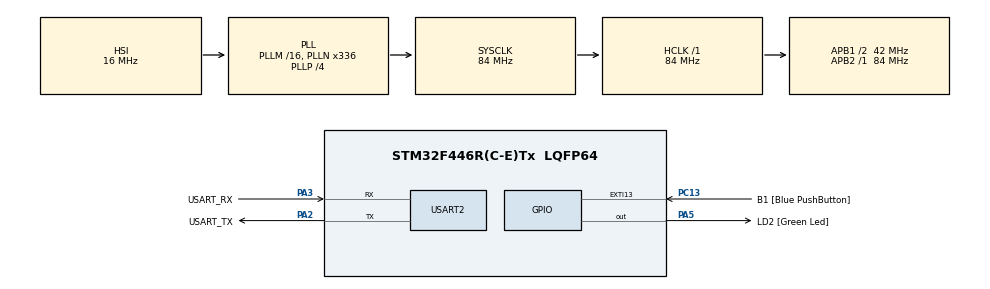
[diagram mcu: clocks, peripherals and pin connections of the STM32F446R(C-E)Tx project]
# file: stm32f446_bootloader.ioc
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Mcu.Family=STM32F4
Mcu.Name=STM32F446R(C-E)Tx
Mcu.Package=LQFP64
NVIC.PriorityGroup=NVIC_PRIORITYGROUP_0
PA13.GPIO_Label=TMS
PA13.Mode=Serial_Wire
PA13.Signal=SYS_JTMS-SWDIO
PA14.GPIO_Label=TCK
PA14.Mode=Serial_Wire
PA14.Signal=SYS_JTCK-SWCLK
PA2.GPIO_Label=USART_TX
PA2.Mode=Asynchronous
PA2.Signal=USART2_TX
PA3.GPIO_Label=USART_RX
PA3.Mode=Asynchronous
PA3.Signal=USART2_RX
PA5.GPIO_Label=LD2 [Green Led]
PA5.Signal=GPIO_Output
PB3.GPIO_Label=SWO
PB3.Signal=SYS_JTDO-SWO
PC13.GPIO_Label=B1 [Blue PushButton]
PC13.GPIO_ModeDefaultEXTI=GPIO_MODE_IT_FALLING
PC13.Signal=GPXTI13
PC14-OSC32_IN.Mode=LSE-External-Oscillator
PC14-OSC32_IN.Signal=RCC_OSC32_IN
PC15-OSC32_OUT.Mode=LSE-External-Oscillator
PC15-OSC32_OUT.Signal=RCC_OSC32_OUT
PH0-OSC_IN.Mode=HSE-External-Oscillator
PH0-OSC_IN.Signal=RCC_OSC_IN
PH1-OSC_OUT.Mode=HSE-External-Oscillator
PH1-OSC_OUT.Signal=RCC_OSC_OUT
ProjectManager.HeapSize=0x200
ProjectManager.StackSize=0x400
ProjectManager.TargetToolchain=STM32CubeIDE
RCC.48MHZClocksFreq_Value=84000000
RCC.AHBFreq_Value=84000000
RCC.APB1CLKDivider=RCC_HCLK_DIV2
RCC.APB1Freq_Value=42000000
RCC.APB1TimFreq_Value=84000000
RCC.APB2Freq_Value=84000000
RCC.APB2TimFreq_Value=84000000
RCC.CortexFreq_Value=84000000
RCC.FLatency-AdvancedSettings=FLASH_LATENCY_2
RCC.HCLKFreq_Value=84000000
RCC.HSE_VALUE=8000000
RCC.HSI_VALUE=16000000
RCC.PLLN=336
RCC.PLLP=RCC_PLLP_DIV4
RCC.SYSCLKFreq_VALUE=84000000
RCC.SYSCLKSource=RCC_SYSCLKSOURCE_PLLCLK
RCC.USBFreq_Value=168000000
RCC.VCOOutputFreq_Value=336000000
USART2.VirtualMode=VM_ASYNC
VP_CRC_VS_CRC.Mode=CRC_Activate
board=NUCLEO-F446RE

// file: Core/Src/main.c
/* USER CODE BEGIN Header */
/**
 ******************************************************************************
 * @file           : main.c
 * @brief          : Main program body
 ******************************************************************************
 * @attention
 *
 * Copyright (c) 2024 STMicroelectronics.
 * All rights reserved.
 *
 * This software is licensed under terms that can be found in the LICENSE file
 * in the root directory of this software component.
 * If no LICENSE file comes with this software, it is provided AS-IS.
 *
 ******************************************************************************
 */
/* USER CODE END Header */
#include "main.h"

/* USER CODE BEGIN Includes */
#include <string.h>
#include "BL.h"
/* USER CODE END Includes */

CRC_HandleTypeDef hcrc;

UART_HandleTypeDef huart2;

void SystemClock_Config(void);
static void MX_GPIO_Init(void);
static void MX_USART2_UART_Init(void);
static void MX_CRC_Init(void);

/* USER CODE BEGIN 0 */
#define FLASH_SECTOR2_BASE_ADDRESS     0x08008000UL
/* USER CODE END 0 */

int main(void)
{

	/* MCU Configuration--------------------------------------------------------*/

	/* Reset of all peripherals, Initializes the Flash interface and the Systick. */
	HAL_Init();

	/* Configure the system clock */
	SystemClock_Config();

	/* Initialize all configured peripherals */
	MX_GPIO_Init();
	MX_USART2_UART_Init();
	MX_CRC_Init();
	/* USER CODE BEGIN 2 */
	if(HAL_GPIO_ReadPin(B1_GPIO_Port, B1_Pin) == GPIO_PIN_RESET)
	{
		Bootloader_UartReadData();
	}
	else
	{

		Bootloader_jumpToUserApp();
	}
	/* USER CODE END 2 */

	/* Infinite loop */
	/* USER CODE BEGIN WHILE */
	char b[]="hello from bootloader\r\n";
	while (1)
	{
		/* USER CODE END WHILE */
		HAL_UART_Transmit(&huart2,(uint8_t*)b, sizeof(b), HAL_MAX_DELAY);
		HAL_Delay(1000);
	}
}

void SystemClock_Config(void)
{
	RCC_OscInitTypeDef RCC_OscInitStruct = {0};
	RCC_ClkInitTypeDef RCC_ClkInitStruct = {0};

	/** Configure the main internal regulator output voltage
	 */
	__HAL_RCC_PWR_CLK_ENABLE();
	__HAL_PWR_VOLTAGESCALING_CONFIG(PWR_REGULATOR_VOLTAGE_SCALE3);
	/** Initializes the RCC Oscillators according to the specified parameters
	 * in the RCC_OscInitTypeDef structure.
	 */
	RCC_OscInitStruct.OscillatorType = RCC_OSCILLATORTYPE_HSI;
	RCC_OscInitStruct.HSIState = RCC_HSI_ON;
	RCC_OscInitStruct.HSICalibrationValue = RCC_HSICALIBRATION_DEFAULT;
	RCC_OscInitStruct.PLL.PLLState = RCC_PLL_ON;
	RCC_OscInitStruct.PLL.PLLSource = RCC_PLLSOURCE_HSI;
	RCC_OscInitStruct.PLL.PLLM = 16;
	RCC_OscInitStruct.PLL.PLLN = 336;
	RCC_OscInitStruct.PLL.PLLP = RCC_PLLP_DIV4;
	RCC_OscInitStruct.PLL.PLLQ = 2;
	RCC_OscInitStruct.PLL.PLLR = 2;
	if (HAL_RCC_OscConfig(&RCC_OscInitStruct) != HAL_OK)
	{
		Error_Handler();
	}
	/** Initializes the CPU, AHB and APB buses clocks
	 */
	RCC_ClkInitStruct.ClockType = RCC_CLOCKTYPE_HCLK|RCC_CLOCKTYPE_SYSCLK
			|RCC_CLOCKTYPE_PCLK1|RCC_CLOCKTYPE_PCLK2;
	RCC_ClkInitStruct.SYSCLKSource = RCC_SYSCLKSOURCE_PLLCLK;
	RCC_ClkInitStruct.AHBCLKDivider = RCC_SYSCLK_DIV1;
	RCC_ClkInitStruct.APB1CLKDivider = RCC_HCLK_DIV2;
	RCC_ClkInitStruct.APB2CLKDivider = RCC_HCLK_DIV1;

	if (HAL_RCC_ClockConfig(&RCC_ClkInitStruct, FLASH_LATENCY_2) != HAL_OK)
	{
		Error_Handler();
	}
}

static void MX_CRC_Init(void)
{

	hcrc.Instance = CRC;
	if (HAL_CRC_Init(&hcrc) != HAL_OK)
	{
		Error_Handler();
	}

}

static void MX_USART2_UART_Init(void)
{

	huart2.Instance = USART2;
	huart2.Init.BaudRate = 115200;
	huart2.Init.WordLength = UART_WORDLENGTH_8B;
	huart2.Init.StopBits = UART_STOPBITS_1;
	huart2.Init.Parity = UART_PARITY_NONE;
	huart2.Init.Mode = UART_MODE_TX_RX;
	huart2.Init.HwFlowCtl = UART_HWCONTROL_NONE;
	huart2.Init.OverSampling = UART_OVERSAMPLING_16;
	if (HAL_UART_Init(&huart2) != HAL_OK)
	{
		Error_Handler();
	}

}

static void MX_GPIO_Init(void)
{
	GPIO_InitTypeDef GPIO_InitStruct = {0};

	/* GPIO Ports Clock Enable */
	__HAL_RCC_GPIOC_CLK_ENABLE();
	__HAL_RCC_GPIOH_CLK_ENABLE();
	__HAL_RCC_GPIOA_CLK_ENABLE();
	__HAL_RCC_GPIOB_CLK_ENABLE();

	/*Configure GPIO pin Output Level */
	HAL_GPIO_WritePin(LD2_GPIO_Port, LD2_Pin, GPIO_PIN_RESET);

	/*Configure GPIO pin : B1_Pin */
	GPIO_InitStruct.Pin = B1_Pin;
	GPIO_InitStruct.Mode = GPIO_MODE_IT_FALLING;
	GPIO_InitStruct.Pull = GPIO_NOPULL;
	HAL_GPIO_Init(B1_GPIO_Port, &GPIO_InitStruct);

	/*Configure GPIO pin : LD2_Pin */
	GPIO_InitStruct.Pin = LD2_Pin;
	GPIO_InitStruct.Mode = GPIO_MODE_OUTPUT_PP;
	GPIO_InitStruct.Pull = GPIO_NOPULL;
	GPIO_InitStruct.Speed = GPIO_SPEED_FREQ_LOW;
	HAL_GPIO_Init(LD2_GPIO_Port, &GPIO_InitStruct);

}

/* USER CODE BEGIN 4 */
void Bootloader_UartReadData()
{
	/*  this function is used to read command from host */
		uint8_t local_u8CmdPacket[255]= {0};
		while(1)
		{
	       /* clear the command packet every iteration */
			memset(local_u8CmdPacket,0,255);

			/*1st : read the first byte which include the " length to follow " field of the command */
			HAL_UART_Receive(&huart2, &local_u8CmdPacket[0],1,HAL_MAX_DELAY);

			/*2nd : read the reset of the command , its size is the previously byte value   */
			HAL_UART_Receive(&huart2, &local_u8CmdPacket[1],local_u8CmdPacket[0],HAL_MAX_DELAY);

			/*3rd : check the command code , then handler the command  */
			switch(local_u8CmdPacket[1])
			{
			case BL_GET_VERSION       :  BL_voidHandlerGetVersionCmd(local_u8CmdPacket);     break;
			case BL_GET_HELP          :  BL_voidHandlerGetHelpCmd( local_u8CmdPacket);        break;
			case BL_GET_CID           :  BL_voidHandlerGetCIDCmd(local_u8CmdPacket);         break;
			case BL_GET_RDP_STATUS    :  BL_voidHandlerGetRDPStatusCmd(local_u8CmdPacket);   break;
			case BL_GO_TO_ADDRESS     :  BL_voidHandlerGoToAdressCmd(local_u8CmdPacket);     break;
			case BL_FLASH_ERASE       :  BL_voidHandlerFlashEraseCmd(local_u8CmdPacket);     break;
			case BL_MEM_WRITE         :  BL_voidHandlerMemWriteCmd(local_u8CmdPacket);       break;
			case BL_EN_RW_PROTECT     :  BL_voidHandlerEnRwProtectCmd(local_u8CmdPacket);    break;
			case BL_MEM_READ          :  BL_voidHandlerMemReadCmd(local_u8CmdPacket);        break;
			case BL_READ_SECTOR_STATUS:  BL_voidHandlerReadSectorStatusCmd(local_u8CmdPacket);     break;
			case BL_OTP_READ          :  BL_voidHandlerOTPReadCmd(local_u8CmdPacket);        break;
			case BL_DIS_RW_PROTECT    :  BL_voidHandlerDisRwProtectCmd(local_u8CmdPacket);   break;
			default                   :     break;
			}

		}

}

void Bootloader_jumpToUserApp()
{
	void (*App_ResetHandler)() ;
	uint32_t resetHandlerAddress;

	uint32_t Local_MSP = *((volatile uint8_t*)(FLASH_SECTOR2_BASE_ADDRESS));
	__asm volatile("MSR MSP ,%0"::"r"(Local_MSP));
	resetHandlerAddress = *((volatile uint32_t* )(FLASH_SECTOR2_BASE_ADDRESS+4));

	App_ResetHandler = (void*)(resetHandlerAddress);
	/* Jump to user App reset handler  */
	App_ResetHandler();
}
/* USER CODE END 4 */

void Error_Handler(void)
{
	__disable_irq();
	while (1)
	{
	}
}
